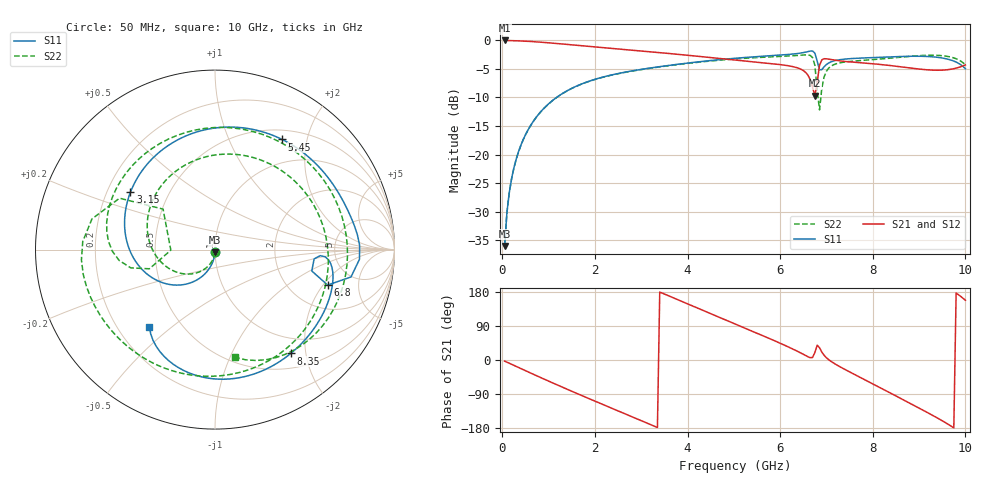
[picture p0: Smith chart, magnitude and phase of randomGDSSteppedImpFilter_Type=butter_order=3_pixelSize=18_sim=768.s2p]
! freq	dB(S11)	phase(S11)	dB(S12)	phase(S12)
!  dB(S21)	phase(S21)	dB(S22)	phase(S22)
!S-par simulation data
#  GHz  S  DB  R 50
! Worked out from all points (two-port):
!   200 points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, 50 MHz to 10 GHz, reference 50 ohm
!   highest |S21| = -0.01 dB at 50 MHz (marker M1); lowest = -9.7 dB at 6.75 GHz (marker M2)
!   |S21| within 3 dB of the highest: start of sweep to 4.503 GHz
!   lowest |S11| = -36.0 dB at 50 MHz (marker M3), VSWR 1.03, Z = 50 - j1.58 ohm
!   |S11| at or under -10 dB: start of sweep to 1.17 GHz
!   |S22| runs from -36.0 to -2.5 dB; largest |S21 - S12| = 0
!   S11 on the Smith chart (normalised r, x): 50 MHz: 1.00, -0.03; 3.15 GHz: 0.30, +0.28; 5.45 GHz: 0.63, +1.60; 6.8 GHz: 3.19, -2.22; 8.35 GHz: 0.73, -1.73; 10 GHz: 0.33, -0.42
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0.05  -36.01 -90.5  -0.01 -2.9  -0.01 -2.9  -36.04 -91.6
0.2  -24.24 -98.9  -0.04 -11.4  -0.04 -11.4  -24.27 -103.3
0.5  -16.54 -113.0  -0.14 -28.2  -0.14 -28.2  -16.56 -124.3
1.15  -10.12 -141.1  -0.52 -63.8  -0.52 -63.8  -10.14 -167.9
1.75  -7.51 -164.8  -0.97 -95.6  -0.97 -95.6  -7.53 152.2
2.55  -5.72 166.5  -1.55 -136.9  -1.55 -136.9  -5.75 98.4
3.15  -4.89 145.8  -1.97 -167.8  -1.97 -167.8  -4.93 57.4
3.4  -4.60 137.2  -2.15 179.3  -2.15 179.3  -4.64 40.3
4.2  -3.79 108.4  -2.76 137.9  -2.76 137.9  -3.85 -13.0
5.05  -3.11 75.2  -3.46 94.1  -3.46 94.1  -3.23 -66.5
5.45  -2.87 58.7  -3.77 73.4  -3.77 73.4  -3.03 -91.1
6.25  -2.41 24.3  -4.55 30.3  -4.55 30.3  -2.70 -143.1
6.7  -1.86 -3.8  -8.22 6.7  -8.22 6.7  -3.02 166.0
6.75  -2.24 -11.4  -9.69 20.0  -9.69 20.0  -4.38 151.7
6.8  -3.64 -17.5  -7.35 39.1  -7.35 39.1  -8.71 142.0
6.85  -5.16 -12.5  -4.38 32.4  -4.38 32.4  -12.18 -179.2
6.95  -4.62 -3.3  -3.21 12.2  -3.21 12.2  -6.37 -167.8
7.35  -3.31 -16.5  -3.65 -21.8  -3.65 -21.8  -3.84 152.4
7.9  -3.04 -37.3  -4.02 -56.7  -4.02 -56.7  -3.44 103.8
8.35  -2.90 -53.9  -4.38 -85.2  -4.38 -85.2  -3.13 63.1
9.15  -2.81 -86.0  -5.14 -136.7  -5.14 -136.7  -2.61 -6.6
10  -4.96 -130.3  -4.30 157.7  -4.30 157.7  -4.28 -79.4
